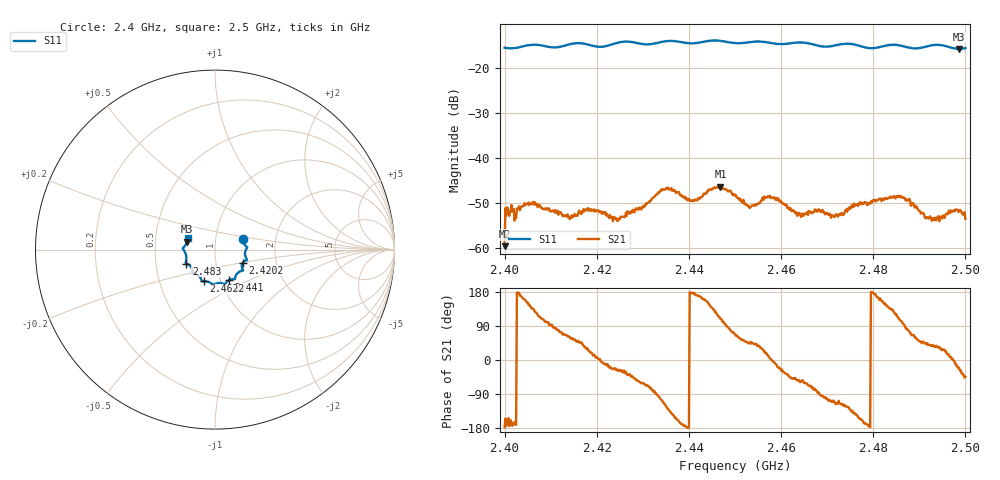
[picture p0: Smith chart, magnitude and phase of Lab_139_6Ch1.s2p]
# Hz S RI R 50
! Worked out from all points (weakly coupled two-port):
!   601 points, 2.4 GHz to 2.5 GHz, reference 50 ohm
!   highest |S21| = -46.33 dB at 2.4468 GHz (marker M1); lowest = -59.5 dB at 2.4 GHz (marker M2)
!   lowest |S11| = -15.8 dB at 2.4987 GHz (marker M3), VSWR 1.39, Z = 36.4 + j3.32 ohm
!   |S11| at or under -10 dB: start of sweep to end of sweep
!   S12 and S22 are empty: the file has one direction only
!   S11 on the Smith chart (normalised r, x): 2.4 GHz: 1.36, +0.17; 2.4202 GHz: 1.35, -0.20; 2.441 GHz: 1.09, -0.39; 2.4622 GHz: 0.83, -0.30; 2.483 GHz: 0.72, -0.12; 2.5 GHz: 0.73, +0.09
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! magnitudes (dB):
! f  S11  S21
! 2.4 GHz  -15.5  -59.5
! 2.4007 GHz  -15.6  -50.9
! 2.4047 GHz  -15.1  -50.3
! 2.4138 GHz  -14.8  -53.2
! 2.4167 GHz  -14.6  -52.4
! 2.4202 GHz  -15.3  -51.6
! 2.4245 GHz  -14.4  -53.9
! 2.4333 GHz  -14.4  -47.6
! 2.441 GHz  -14.6  -49.3
! 2.4468 GHz  -14.0  -46.3
! 2.45 GHz  -14.5  -48.1
! 2.453 GHz  -14.3  -50.6
! 2.4575 GHz  -14.4  -48.7
! 2.4622 GHz  -14.5  -51.3
! 2.4667 GHz  -14.7  -52.2
! 2.472 GHz  -15.0  -52.4
! 2.483 GHz  -15.0  -49.0
! 2.4833 GHz  -15.0  -48.8
! 2.4863 GHz  -15.2  -48.8
! 2.4932 GHz  -14.9  -53.4
! 2.4987 GHz  -15.8  -51.7
! 2.5 GHz  -15.6  -53.4
